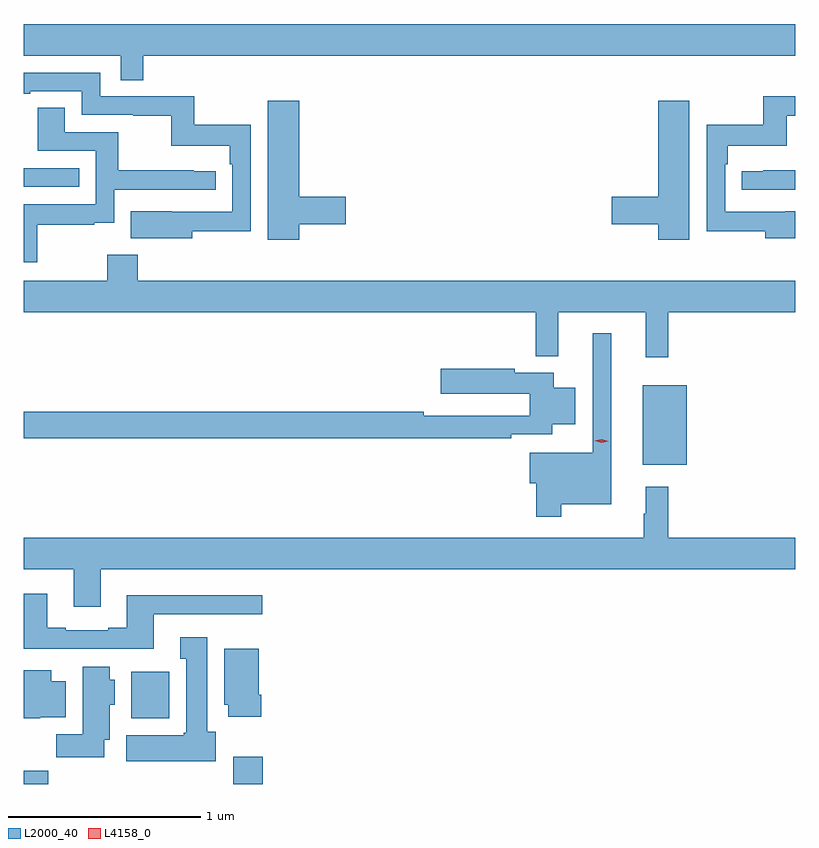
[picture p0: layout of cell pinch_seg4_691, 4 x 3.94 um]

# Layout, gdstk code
import gdstk
lib = gdstk.Library(unit=1e-6, precision=1e-09)
def R(c, l, rs):  # rectangles x0, y0, x1, y1
    for r in rs: c.add(gdstk.rectangle(r[:2], r[2:], *l))
def P(c, l, *ps):  # polygons
    for p in ps: c.add(gdstk.Polygon(p, *l))
L2000_40 = (2000, 40)
L4158_0 = (4158, 0)

pinch_seg4_691 = lib.new_cell('pinch_seg4_691')
R(pinch_seg4_691, L2000_40, [(1094.687,763.738,1094.813,763.808), (1095.773,763.738,1095.926,763.879), (1095.245,764.078,1095.442,764.32), (1097.897,765.395,1098.124,765.805), (1094.687,766.836,1094.975,766.932)])
P(pinch_seg4_691, L2000_40, [(1095.305,767.516),(1098.687,767.516),(1098.687,767.68),(1094.687,767.68),(1094.687,767.516),(1095.189,767.516),(1095.189,767.389),(1095.305,767.389)],
  [(1095.559,766.606),(1095.864,766.606),(1095.864,767.158),(1095.571,767.158),(1095.571,767.304),(1095.084,767.304),(1095.084,767.427),(1094.687,767.427),(1094.687,767.319),(1094.719,767.319),(1094.719,767.331),(1094.988,767.331),(1094.988,767.208),(1095.253,767.208),(1095.253,767.203),(1095.45,767.203),(1095.45,767.048),(1095.755,767.048),(1095.755,766.952),(1095.768,766.952),(1095.768,766.707),(1095.455,766.707),(1095.455,766.708),(1095.241,766.708),(1095.241,766.568),(1095.559,766.568)],
  [(1098.687,766.708),(1098.637,766.708),(1098.637,766.707),(1098.324,766.707),(1098.324,766.952),(1098.338,766.952),(1098.338,767.048),(1098.643,767.048),(1098.643,767.203),(1098.687,767.203),(1098.687,767.304),(1098.522,767.304),(1098.522,767.158),(1098.228,767.158),(1098.228,766.606),(1098.533,766.606),(1098.533,766.568),(1098.687,766.568)],
  [(1098.139,767.281),(1097.978,767.281),(1097.978,766.784),(1097.736,766.784),(1097.736,766.642),(1097.978,766.642),(1097.978,766.56),(1098.139,766.56)],
  [(1096.114,766.642),(1096.357,766.642),(1096.357,766.784),(1096.114,766.784),(1096.114,767.281),(1095.953,767.281),(1095.953,766.56),(1096.114,766.56)],
  [(1094.755,766.638),(1095.053,766.638),(1095.053,766.649),(1095.156,766.649),(1095.156,766.821),(1095.682,766.821),(1095.682,766.917),(1095.569,766.917),(1095.569,766.922),(1095.176,766.922),(1095.176,767.118),(1094.899,767.118),(1094.899,767.246),(1094.759,767.246),(1094.759,767.022),(1095.06,767.022),(1095.06,766.746),(1094.687,766.746),(1094.687,766.443),(1094.755,766.443)],
  [(1098.687,766.922),(1098.523,766.922),(1098.523,766.917),(1098.411,766.917),(1098.411,766.821),(1098.687,766.821)],
  [(1098.029,766.184),(1098.687,766.184),(1098.687,766.348),(1095.278,766.348),(1095.278,766.483),(1095.118,766.483),(1095.118,766.348),(1094.687,766.348),(1094.687,766.184),(1097.341,766.184),(1097.341,765.956),(1097.459,765.956),(1097.459,766.184),(1097.912,766.184),(1097.912,765.951),(1098.029,765.951)],
  [(1097.473,765.188),(1097.734,765.188),(1097.734,766.075),(1097.637,766.075),(1097.637,765.457),(1097.31,765.457),(1097.31,765.299),(1097.344,765.299),(1097.344,765.123),(1097.473,765.123)],
  [(1097.216,765.552),(1097.428,765.552),(1097.428,765.605),(1097.548,765.605),(1097.548,765.793),(1097.434,765.793),(1097.434,765.871),(1097.232,765.871),(1097.232,765.891),(1096.848,765.891),(1096.848,765.761),(1097.312,765.761),(1097.312,765.648),(1096.76,765.648),(1096.76,765.668),(1094.687,765.668),(1094.687,765.532),(1097.216,765.532)],
  [(1095.085,764.852),(1098.687,764.852),(1098.687,765.016),(1098.029,765.016),(1098.029,765.28),(1097.912,765.28),(1097.912,765.14),(1097.901,765.14),(1097.901,765.016),(1094.687,765.016),(1094.687,764.852),(1094.945,764.852),(1094.945,764.658),(1095.085,764.658)],
  [(1095.361,764.619),(1095.922,764.619),(1095.922,764.716),(1095.221,764.716),(1095.221,764.548),(1095.125,764.548),(1095.125,764.535),(1094.905,764.535),(1094.905,764.548),(1094.809,764.548),(1094.809,764.725),(1094.687,764.725),(1094.687,764.439),(1095.361,764.439)],
  [(1095.682,764.01),(1095.637,764.01),(1095.637,764.5),(1095.497,764.5),(1095.497,764.387),(1095.53,764.387),(1095.53,764.004),(1095.517,764.004),(1095.517,763.99),(1095.218,763.99),(1095.218,763.856),(1095.682,763.856)],
  [(1095.917,764.2),(1095.904,764.2),(1095.904,764.44),(1095.725,764.44),(1095.725,764.148),(1095.746,764.148),(1095.746,764.088),(1095.917,764.088)],
  [(1095.103,763.967),(1095.133,763.967),(1095.133,764.148),(1095.157,764.148),(1095.157,764.28),(1095.133,764.28),(1095.133,764.347),(1094.993,764.347),(1094.993,763.996),(1094.854,763.996),(1094.854,763.878),(1095.103,763.878)],
  [(1094.772,764.084),(1094.905,764.084),(1094.905,764.272),(1094.83,764.272),(1094.83,764.329),(1094.687,764.329),(1094.687,764.078),(1094.772,764.078)])
P(pinch_seg4_691, L4158_0, [(1097.682,765.507),(1097.647,765.518),(1097.647,765.519),(1097.647,765.519),(1097.683,765.527),(1097.718,765.515),(1097.718,765.515),(1097.718,765.515)])

lib.write_gds('pinch_seg4_691.gds')
